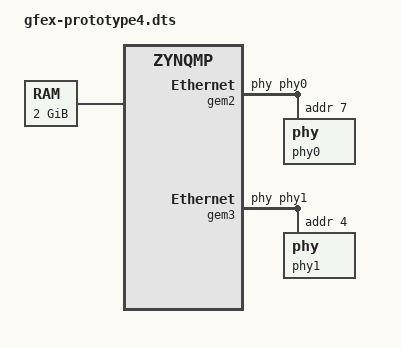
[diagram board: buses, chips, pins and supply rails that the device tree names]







/dts-v1/;
/include/ "zynqmp.dtsi"
/include/ "zynqmp-clk-ccf.dtsi"
/include/ "pl.dtsi"
/include/ "pcw.dtsi"
/ {
  chosen {
    bootargs = "earlycon clk_ignore_unused";
    stdout-path = "serial0:115200n8";
  };
  aliases {
      ethernet0 = &gem2;
      ethernet1 = &gem3;
      serial0 = &uart0;
      spi0 = &axi_quad_spi_0;
      spi1 = &qspi;
      spi2 = &spi0;
      spi3 = &spi1;
    };
    memory {
      device_type = "memory";
      reg = <0x0 0x0 0x0 0x80000000>;
    };
    cpus {
    };
};

&gem2 {
    local-mac-address = [00 0a 35 00 00 4A];
    phy-handle = <&phy0>;
    phy0: phy@7 {
        reg = <0x7>;
        ti,rx-internal-delay = <0x8>;
        ti,tx-internal-delay = <0xa>;
        ti,fifo-depth = <0x1>;
    };
};

&gem3 {
    local-mac-address = [00 0a 35 00 00 01];
    phy-handle = <&phy1>;
    phy1: phy@4 {
        reg = <0x4>;
        ti,rx-internal-delay = <0x8>;
        ti,tx-internal-delay = <0xa>;
        ti,fifo-depth = <0x1>;
    };
};

&sdhci1 {
  disable-wp;
  disable-cd;
  /*broken-mmc-highspeed;*/
  /*clock-frequency = <50000000>;*/
  broken-tuning;
  no-1-8-v;
};
